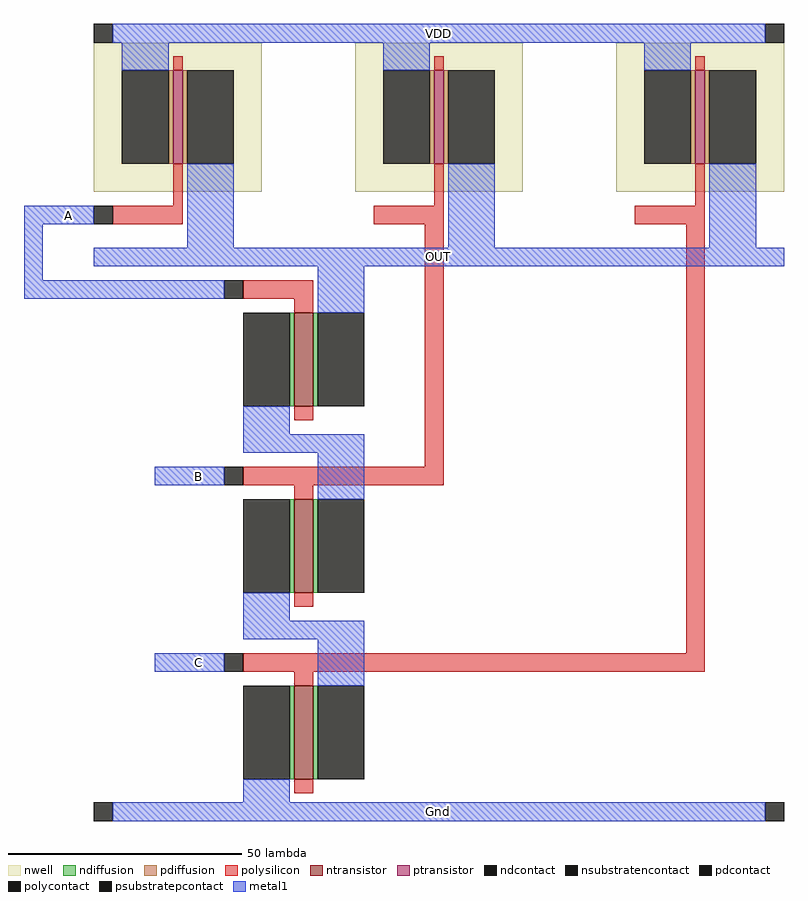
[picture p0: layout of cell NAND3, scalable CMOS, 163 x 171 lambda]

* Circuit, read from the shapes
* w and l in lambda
.subckt NAND3 A B C Gnd OUT VDD
M1 n1 C Gnd Gnd nfet w=20 l=4
M2 n2 B n1 Gnd nfet w=20 l=4
M3 OUT A n2 Gnd nfet w=20 l=4
M4 OUT A VDD n3 pfet w=20 l=2
M5 OUT B VDD n4 pfet w=20 l=2
M6 OUT C VDD n5 pfet w=20 l=2
.ends

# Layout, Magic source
magic
tech scmos
<< nwell >>
rect 164 96 200 128
rect 220 96 256 128
rect 276 96 312 128
<< ntransistor >>
rect 207 50 211 70
rect 207 10 211 30
rect 207 -30 211 -10
<< ptransistor >>
rect 181 102 183 122
rect 237 102 239 122
rect 293 102 295 122
<< ndiffusion >>
rect 206 50 207 70
rect 211 50 212 70
rect 206 10 207 30
rect 211 10 212 30
rect 206 -30 207 -10
rect 211 -30 212 -10
<< pdiffusion >>
rect 180 102 181 122
rect 183 102 184 122
rect 236 102 237 122
rect 239 102 240 122
rect 292 102 293 122
rect 295 102 296 122
<< ndcontact >>
rect 196 50 206 70
rect 212 50 222 70
rect 196 10 206 30
rect 212 10 222 30
rect 196 -30 206 -10
rect 212 -30 222 -10
<< pdcontact >>
rect 170 102 180 122
rect 184 102 194 122
rect 226 102 236 122
rect 240 102 250 122
rect 282 102 292 122
rect 296 102 306 122
<< psubstratepcontact >>
rect 164 -39 168 -35
rect 308 -39 312 -35
<< nsubstratencontact >>
rect 164 128 168 132
rect 308 128 312 132
<< polysilicon >>
rect 181 122 183 125
rect 237 122 239 125
rect 293 122 295 125
rect 181 93 183 102
rect 237 93 239 102
rect 293 93 295 102
rect 168 89 183 93
rect 224 89 239 93
rect 280 89 295 93
rect 196 73 211 77
rect 207 70 211 73
rect 207 47 211 50
rect 235 37 239 89
rect 196 33 239 37
rect 207 30 211 33
rect 207 7 211 10
rect 291 -3 295 89
rect 196 -7 295 -3
rect 207 -10 211 -7
rect 207 -33 211 -30
<< polycontact >>
rect 164 89 168 93
rect 192 73 196 77
rect 192 33 196 37
rect 192 -7 196 -3
<< metal1 >>
rect 168 128 308 132
rect 170 122 180 128
rect 226 122 236 128
rect 282 122 292 128
rect 149 89 164 93
rect 149 77 153 89
rect 184 84 194 102
rect 240 84 250 102
rect 296 84 306 102
rect 164 80 312 84
rect 149 73 192 77
rect 212 70 222 80
rect 196 44 206 50
rect 196 40 222 44
rect 177 33 192 37
rect 212 30 222 40
rect 196 4 206 10
rect 196 0 222 4
rect 177 -7 192 -3
rect 212 -10 222 0
rect 196 -35 206 -30
rect 168 -39 308 -35
<< labels >>
rlabel metal1 149 89 168 93 1 A
rlabel metal1 177 33 196 37 1 B
rlabel metal1 164 128 312 132 5 VDD
rlabel metal1 164 80 312 84 1 OUT
rlabel metal1 164 -39 312 -35 1 Gnd
rlabel metal1 177 -7 196 -3 1 C
<< end >>
